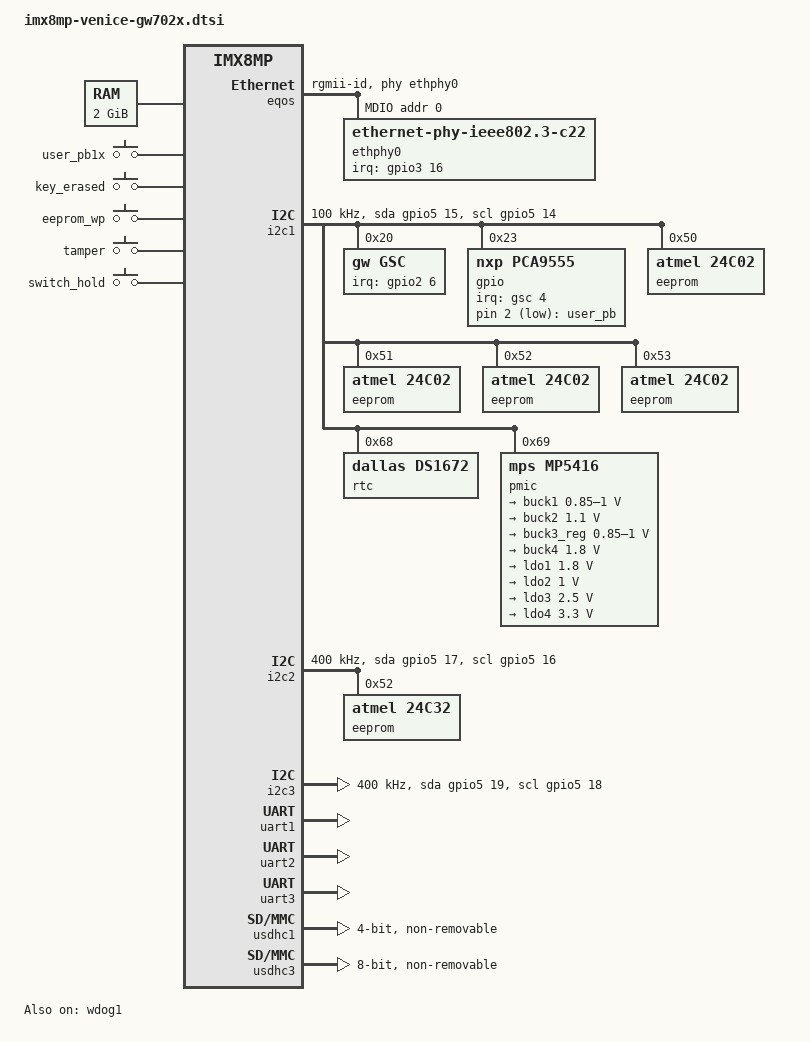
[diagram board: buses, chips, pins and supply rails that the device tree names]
// SPDX-License-Identifier: (GPL-2.0+ OR MIT)
/*
 * Copyright 2023 Gateworks Corporation
 */

#include <dt-bindings/gpio/gpio.h>
#include <dt-bindings/input/linux-event-codes.h>
#include <dt-bindings/leds/common.h>
#include <dt-bindings/net/ti-dp83867.h>

/ {
	aliases {
		ethernet0 = &eqos;
	};

	memory@40000000 {
		device_type = "memory";
		reg = <0x0 0x40000000 0 0x80000000>;
	};

	gpio-keys {
		compatible = "gpio-keys";

		key-user-pb {
			label = "user_pb";
			gpios = <&gpio 2 GPIO_ACTIVE_LOW>;
			linux,code = <BTN_0>;
		};

		key-user-pb1x {
			label = "user_pb1x";
			linux,code = <BTN_1>;
			interrupt-parent = <&gsc>;
			interrupts = <0>;
		};

		key-erased {
			label = "key_erased";
			linux,code = <BTN_2>;
			interrupt-parent = <&gsc>;
			interrupts = <1>;
		};

		key-eeprom-wp {
			label = "eeprom_wp";
			linux,code = <BTN_3>;
			interrupt-parent = <&gsc>;
			interrupts = <2>;
		};

		key-tamper {
			label = "tamper";
			linux,code = <BTN_4>;
			interrupt-parent = <&gsc>;
			interrupts = <5>;
		};

		switch-hold {
			label = "switch_hold";
			linux,code = <BTN_5>;
			interrupt-parent = <&gsc>;
			interrupts = <7>;
		};
	};
};

&A53_0 {
	cpu-supply = <&buck3_reg>;
};

&A53_1 {
	cpu-supply = <&buck3_reg>;
};

&A53_2 {
	cpu-supply = <&buck3_reg>;
};

&A53_3 {
	cpu-supply = <&buck3_reg>;
};

&eqos {
	pinctrl-names = "default";
	pinctrl-0 = <&pinctrl_eqos>;
	phy-mode = "rgmii-id";
	phy-handle = <&ethphy0>;
	status = "okay";

	mdio {
		compatible = "snps,dwmac-mdio";
		#address-cells = <1>;
		#size-cells = <0>;

		ethphy0: ethernet-phy@0 {
			compatible = "ethernet-phy-ieee802.3-c22";
			pinctrl-0 = <&pinctrl_ethphy0>;
			pinctrl-names = "default";
			reg = <0x0>;
			interrupt-parent = <&gpio3>;
			interrupts = <16 IRQ_TYPE_EDGE_FALLING>;
			ti,rx-internal-delay = <DP83867_RGMIIDCTL_2_00_NS>;
			ti,tx-internal-delay = <DP83867_RGMIIDCTL_2_00_NS>;
			tx-fifo-depth = <DP83867_PHYCR_FIFO_DEPTH_4_B_NIB>;
			rx-fifo-depth = <DP83867_PHYCR_FIFO_DEPTH_4_B_NIB>;

			leds {
				#address-cells = <1>;
				#size-cells = <0>;

				led@1 {
					reg = <1>;
					color = <LED_COLOR_ID_AMBER>;
					function = LED_FUNCTION_LAN;
					default-state = "keep";
				};

				led@2 {
					reg = <2>;
					color = <LED_COLOR_ID_GREEN>;
					function = LED_FUNCTION_LAN;
					default-state = "keep";
				};
			};
		};
	};
};

&i2c1 {
	clock-frequency = <100000>;
	pinctrl-names = "default", "gpio";
	pinctrl-0 = <&pinctrl_i2c1>;
	pinctrl-1 = <&pinctrl_i2c1_gpio>;
	scl-gpios = <&gpio5 14 (GPIO_ACTIVE_HIGH | GPIO_OPEN_DRAIN)>;
	sda-gpios = <&gpio5 15 (GPIO_ACTIVE_HIGH | GPIO_OPEN_DRAIN)>;
	status = "okay";

	gsc: gsc@20 {
		compatible = "gw,gsc";
		reg = <0x20>;
		pinctrl-0 = <&pinctrl_gsc>;
		interrupt-parent = <&gpio2>;
		interrupts = <6 IRQ_TYPE_EDGE_FALLING>;
		interrupt-controller;
		#interrupt-cells = <1>;
		#address-cells = <1>;
		#size-cells = <0>;

		adc {
			compatible = "gw,gsc-adc";
			#address-cells = <1>;
			#size-cells = <0>;

			channel@6 {
				gw,mode = <0>;
				reg = <0x06>;
				label = "temp";
			};

			channel@8 {
				gw,mode = <3>;
				reg = <0x08>;
				label = "vdd_bat";
			};

			channel@16 {
				gw,mode = <4>;
				reg = <0x16>;
				label = "fan_tach";
			};

			channel@82 {
				gw,mode = <2>;
				reg = <0x82>;
				label = "vdd_vin";
				gw,voltage-divider-ohms = <22100 1000>;
			};

			channel@84 {
				gw,mode = <2>;
				reg = <0x84>;
				label = "vdd_adc1";
				gw,voltage-divider-ohms = <10000 10000>;
			};

			channel@86 {
				gw,mode = <2>;
				reg = <0x86>;
				label = "vdd_adc2";
				gw,voltage-divider-ohms = <10000 10000>;
			};

			channel@88 {
				gw,mode = <2>;
				reg = <0x88>;
				label = "vdd_1p0";
			};

			channel@8c {
				gw,mode = <2>;
				reg = <0x8c>;
				label = "vdd_1p8";
			};

			channel@8e {
				gw,mode = <2>;
				reg = <0x8e>;
				label = "vdd_2p5";
			};

			channel@90 {
				gw,mode = <2>;
				reg = <0x90>;
				label = "vdd_3p3";
				gw,voltage-divider-ohms = <10000 10000>;
			};

			channel@92 {
				gw,mode = <2>;
				reg = <0x92>;
				label = "vdd_dram";
			};

			channel@98 {
				gw,mode = <2>;
				reg = <0x98>;
				label = "vdd_soc";
			};

			channel@9a {
				gw,mode = <2>;
				reg = <0x9a>;
				label = "vdd_arm";
			};

			channel@a2 {
				gw,mode = <2>;
				reg = <0xa2>;
				label = "vdd_gsc";
				gw,voltage-divider-ohms = <10000 10000>;
			};
		};

		fan-controller@0 {
			compatible = "gw,gsc-fan";
			reg = <0x0a>;
		};
	};

	gpio: gpio@23 {
		compatible = "nxp,pca9555";
		reg = <0x23>;
		gpio-controller;
		#gpio-cells = <2>;
		interrupt-parent = <&gsc>;
		interrupts = <4>;
	};

	eeprom@50 {
		compatible = "atmel,24c02";
		reg = <0x50>;
		pagesize = <16>;
	};

	eeprom@51 {
		compatible = "atmel,24c02";
		reg = <0x51>;
		pagesize = <16>;
	};

	eeprom@52 {
		compatible = "atmel,24c02";
		reg = <0x52>;
		pagesize = <16>;
	};

	eeprom@53 {
		compatible = "atmel,24c02";
		reg = <0x53>;
		pagesize = <16>;
	};

	rtc@68 {
		compatible = "dallas,ds1672";
		reg = <0x68>;
	};

	pmic@69 {
		compatible = "mps,mp5416";
		reg = <0x69>;

		regulators {
			/* vdd_soc */
			buck1 {
				regulator-name = "buck1";
				regulator-min-microvolt = <850000>;
				regulator-max-microvolt = <1000000>;
				regulator-always-on;
				regulator-boot-on;
			};

			/* vdd_dram */
			buck2 {
				regulator-name = "buck2";
				regulator-min-microvolt = <1100000>;
				regulator-max-microvolt = <1100000>;
				regulator-always-on;
				regulator-boot-on;
			};

			/* vdd_arm */
			buck3_reg: buck3 {
				regulator-name = "buck3";
				regulator-min-microvolt = <850000>;
				regulator-max-microvolt = <1000000>;
				regulator-always-on;
				regulator-boot-on;
			};

			/* vdd_1p8 */
			buck4 {
				regulator-name = "buck4";
				regulator-min-microvolt = <1800000>;
				regulator-max-microvolt = <1800000>;
				regulator-always-on;
				regulator-boot-on;
			};

			/* OUT2: nvcc_snvs_1p8 */
			ldo1 {
				regulator-name = "ldo1";
				regulator-min-microvolt = <1800000>;
				regulator-max-microvolt = <1800000>;
				regulator-always-on;
				regulator-boot-on;
			};

			/* OUT3: vdd_1p0 */
			ldo2 {
				regulator-name = "ldo2";
				regulator-min-microvolt = <1000000>;
				regulator-max-microvolt = <1000000>;
				regulator-always-on;
				regulator-boot-on;
			};

			/* OUT4: vdd_2p5 */
			ldo3 {
				regulator-name = "ldo3";
				regulator-min-microvolt = <2500000>;
				regulator-max-microvolt = <2500000>;
				regulator-always-on;
				regulator-boot-on;
			};

			/* OUT5: vdd_3p3 */
			ldo4 {
				regulator-name = "ldo4";
				regulator-min-microvolt = <3300000>;
				regulator-max-microvolt = <3300000>;
				regulator-always-on;
				regulator-boot-on;
			};
		};
	};
};

/* off-board header */
&i2c2 {
	clock-frequency = <400000>;
	pinctrl-names = "default", "gpio";
	pinctrl-0 = <&pinctrl_i2c2>;
	pinctrl-1 = <&pinctrl_i2c2_gpio>;
	scl-gpios = <&gpio5 16 (GPIO_ACTIVE_HIGH | GPIO_OPEN_DRAIN)>;
	sda-gpios = <&gpio5 17 (GPIO_ACTIVE_HIGH | GPIO_OPEN_DRAIN)>;
	status = "okay";

	eeprom@52 {
		compatible = "atmel,24c32";
		reg = <0x52>;
		pagesize = <32>;
	};
};

/* off-board header */
&i2c3 {
	clock-frequency = <400000>;
	pinctrl-names = "default", "gpio";
	pinctrl-0 = <&pinctrl_i2c3>;
	pinctrl-1 = <&pinctrl_i2c3_gpio>;
	scl-gpios = <&gpio5 18 (GPIO_ACTIVE_HIGH | GPIO_OPEN_DRAIN)>;
	sda-gpios = <&gpio5 19 (GPIO_ACTIVE_HIGH | GPIO_OPEN_DRAIN)>;
	status = "okay";
};

/* off-board header */
&uart1 {
	pinctrl-names = "default";
	pinctrl-0 = <&pinctrl_uart1>;
	status = "okay";
};

/* console */
&uart2 {
	pinctrl-names = "default";
	pinctrl-0 = <&pinctrl_uart2>;
	status = "okay";
};

/* off-board header */
&uart3 {
	pinctrl-names = "default";
	pinctrl-0 = <&pinctrl_uart3>;
	status = "okay";
};

/* off-board */
&usdhc1 {
	pinctrl-names = "default";
	pinctrl-0 = <&pinctrl_usdhc1>;
	bus-width = <4>;
	non-removable;
	status = "okay";
	bus-width = <4>;
	non-removable;
	status = "okay";
};

/* eMMC */
&usdhc3 {
	pinctrl-names = "default", "state_100mhz", "state_200mhz";
	pinctrl-0 = <&pinctrl_usdhc3>;
	pinctrl-1 = <&pinctrl_usdhc3_100mhz>;
	pinctrl-2 = <&pinctrl_usdhc3_200mhz>;
	bus-width = <8>;
	non-removable;
	status = "okay";
};

&wdog1 {
	pinctrl-names = "default";
	pinctrl-0 = <&pinctrl_wdog>;
	fsl,ext-reset-output;
	status = "okay";
};

&iomuxc {
	pinctrl_eqos: eqosgrp {
		fsl,pins = <
			MX8MP_IOMUXC_ENET_MDC__ENET_QOS_MDC			0x2
			MX8MP_IOMUXC_ENET_MDIO__ENET_QOS_MDIO			0x2
			MX8MP_IOMUXC_ENET_RD0__ENET_QOS_RGMII_RD0		0x90
			MX8MP_IOMUXC_ENET_RD1__ENET_QOS_RGMII_RD1		0x90
			MX8MP_IOMUXC_ENET_RD2__ENET_QOS_RGMII_RD2		0x90
			MX8MP_IOMUXC_ENET_RD3__ENET_QOS_RGMII_RD3		0x90
			MX8MP_IOMUXC_ENET_RXC__CCM_ENET_QOS_CLOCK_GENERATE_RX_CLK	0x90
			MX8MP_IOMUXC_ENET_RX_CTL__ENET_QOS_RGMII_RX_CTL		0x90
			MX8MP_IOMUXC_ENET_TD0__ENET_QOS_RGMII_TD0		0x16
			MX8MP_IOMUXC_ENET_TD1__ENET_QOS_RGMII_TD1		0x16
			MX8MP_IOMUXC_ENET_TD2__ENET_QOS_RGMII_TD2		0x16
			MX8MP_IOMUXC_ENET_TD3__ENET_QOS_RGMII_TD3		0x16
			MX8MP_IOMUXC_ENET_TX_CTL__ENET_QOS_RGMII_TX_CTL		0x16
			MX8MP_IOMUXC_ENET_TXC__CCM_ENET_QOS_CLOCK_GENERATE_TX_CLK	0x16
		>;
	};

	pinctrl_ethphy0: ethphy0grp {
		fsl,pins = <
			MX8MP_IOMUXC_NAND_DQS__GPIO3_IO14	0x140 /* RST# */
			MX8MP_IOMUXC_NAND_READY_B__GPIO3_IO16	0x150 /* IRQ# */
		>;
	};

	pinctrl_gsc: gscgrp {
		fsl,pins = <
			MX8MP_IOMUXC_SD1_DATA4__GPIO2_IO06	0x150 /* IRQ# */
		>;
	};

	pinctrl_i2c1: i2c1grp {
		fsl,pins = <
			MX8MP_IOMUXC_I2C1_SCL__I2C1_SCL		0x400001c2
			MX8MP_IOMUXC_I2C1_SDA__I2C1_SDA		0x400001c2
		>;
	};

	pinctrl_i2c1_gpio: i2c1gpiogrp {
		fsl,pins = <
			MX8MP_IOMUXC_I2C1_SCL__GPIO5_IO14	0x400001c2
			MX8MP_IOMUXC_I2C1_SDA__GPIO5_IO15	0x400001c2
		>;
	};

	pinctrl_i2c2: i2c2grp {
		fsl,pins = <
			MX8MP_IOMUXC_I2C2_SCL__I2C2_SCL		0x400001c2
			MX8MP_IOMUXC_I2C2_SDA__I2C2_SDA		0x400001c2
		>;
	};

	pinctrl_i2c2_gpio: i2c2gpiogrp {
		fsl,pins = <
			MX8MP_IOMUXC_I2C2_SCL__GPIO5_IO16	0x400001c2
			MX8MP_IOMUXC_I2C2_SDA__GPIO5_IO17	0x400001c2
		>;
	};

	pinctrl_i2c3: i2c3grp {
		fsl,pins = <
			MX8MP_IOMUXC_I2C3_SCL__I2C3_SCL		0x400001c2
			MX8MP_IOMUXC_I2C3_SDA__I2C3_SDA		0x400001c2
		>;
	};

	pinctrl_i2c3_gpio: i2c3gpiogrp {
		fsl,pins = <
			MX8MP_IOMUXC_I2C3_SCL__GPIO5_IO18	0x400001c2
			MX8MP_IOMUXC_I2C3_SDA__GPIO5_IO19	0x400001c2
		>;
	};

	pinctrl_uart1: uart1grp {
		fsl,pins = <
			MX8MP_IOMUXC_UART1_RXD__UART1_DCE_RX	0x140
			MX8MP_IOMUXC_UART1_TXD__UART1_DCE_TX	0x140
		>;
	};

	pinctrl_uart2: uart2grp {
		fsl,pins = <
			MX8MP_IOMUXC_UART2_RXD__UART2_DCE_RX	0x140
			MX8MP_IOMUXC_UART2_TXD__UART2_DCE_TX	0x140
		>;
	};

	pinctrl_uart3: uart3grp {
		fsl,pins = <
			MX8MP_IOMUXC_UART3_RXD__UART3_DCE_RX	0x140
			MX8MP_IOMUXC_UART3_TXD__UART3_DCE_TX	0x140
		>;
	};

	pinctrl_usdhc1: usdhc1grp {
		fsl,pins = <
			MX8MP_IOMUXC_SD1_CLK__USDHC1_CLK	0x190
			MX8MP_IOMUXC_SD1_CMD__USDHC1_CMD	0x1d0
			MX8MP_IOMUXC_SD1_DATA0__USDHC1_DATA0	0x1d0
			MX8MP_IOMUXC_SD1_DATA1__USDHC1_DATA1	0x1d0
			MX8MP_IOMUXC_SD1_DATA2__USDHC1_DATA2	0x1d0
			MX8MP_IOMUXC_SD1_DATA3__USDHC1_DATA3	0x1d0
		>;
	};

	pinctrl_usdhc3: usdhc3grp {
		fsl,pins = <
			MX8MP_IOMUXC_NAND_WE_B__USDHC3_CLK	0x190
			MX8MP_IOMUXC_NAND_WP_B__USDHC3_CMD	0x1d0
			MX8MP_IOMUXC_NAND_DATA04__USDHC3_DATA0	0x1d0
			MX8MP_IOMUXC_NAND_DATA05__USDHC3_DATA1	0x1d0
			MX8MP_IOMUXC_NAND_DATA06__USDHC3_DATA2	0x1d0
			MX8MP_IOMUXC_NAND_DATA07__USDHC3_DATA3	0x1d0
			MX8MP_IOMUXC_NAND_RE_B__USDHC3_DATA4	0x1d0
			MX8MP_IOMUXC_NAND_CE2_B__USDHC3_DATA5	0x1d0
			MX8MP_IOMUXC_NAND_CE3_B__USDHC3_DATA6	0x1d0
			MX8MP_IOMUXC_NAND_CLE__USDHC3_DATA7	0x1d0
			MX8MP_IOMUXC_NAND_CE1_B__USDHC3_STROBE	0x190
		>;
	};

	pinctrl_usdhc3_100mhz: usdhc3-100mhzgrp {
		fsl,pins = <
			MX8MP_IOMUXC_NAND_WE_B__USDHC3_CLK	0x194
			MX8MP_IOMUXC_NAND_WP_B__USDHC3_CMD	0x1d4
			MX8MP_IOMUXC_NAND_DATA04__USDHC3_DATA0	0x1d4
			MX8MP_IOMUXC_NAND_DATA05__USDHC3_DATA1	0x1d4
			MX8MP_IOMUXC_NAND_DATA06__USDHC3_DATA2	0x1d4
			MX8MP_IOMUXC_NAND_DATA07__USDHC3_DATA3	0x1d4
			MX8MP_IOMUXC_NAND_RE_B__USDHC3_DATA4	0x1d4
			MX8MP_IOMUXC_NAND_CE2_B__USDHC3_DATA5	0x1d4
			MX8MP_IOMUXC_NAND_CE3_B__USDHC3_DATA6	0x1d4
			MX8MP_IOMUXC_NAND_CLE__USDHC3_DATA7	0x1d4
			MX8MP_IOMUXC_NAND_CE1_B__USDHC3_STROBE	0x194
		>;
	};

	pinctrl_usdhc3_200mhz: usdhc3-200mhzgrp {
		fsl,pins = <
			MX8MP_IOMUXC_NAND_WE_B__USDHC3_CLK	0x196
			MX8MP_IOMUXC_NAND_WP_B__USDHC3_CMD	0x1d6
			MX8MP_IOMUXC_NAND_DATA04__USDHC3_DATA0	0x1d6
			MX8MP_IOMUXC_NAND_DATA05__USDHC3_DATA1	0x1d6
			MX8MP_IOMUXC_NAND_DATA06__USDHC3_DATA2	0x1d6
			MX8MP_IOMUXC_NAND_DATA07__USDHC3_DATA3	0x1d6
			MX8MP_IOMUXC_NAND_RE_B__USDHC3_DATA4	0x1d6
			MX8MP_IOMUXC_NAND_CE2_B__USDHC3_DATA5	0x1d6
			MX8MP_IOMUXC_NAND_CE3_B__USDHC3_DATA6	0x1d6
			MX8MP_IOMUXC_NAND_CLE__USDHC3_DATA7	0x1d6
			MX8MP_IOMUXC_NAND_CE1_B__USDHC3_STROBE	0x196
		>;
	};

	pinctrl_wdog: wdoggrp {
		fsl,pins = <
			MX8MP_IOMUXC_GPIO1_IO02__WDOG1_WDOG_B	0x166
		>;
	};
};
